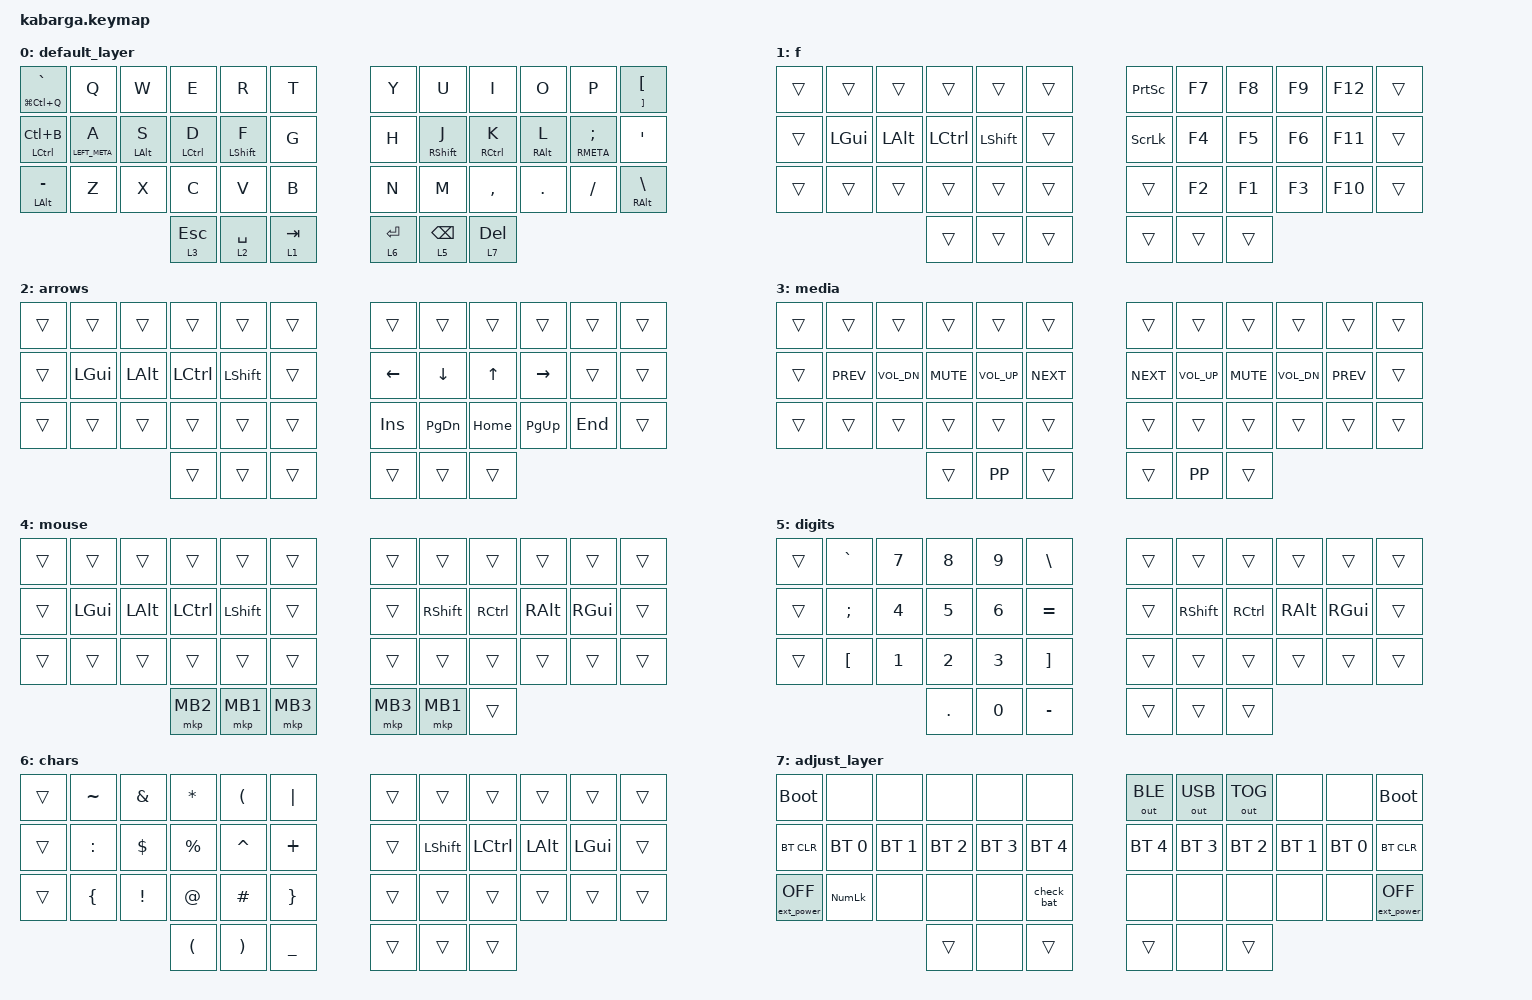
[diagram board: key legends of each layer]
/*
 * Copyright (c) 2020 The ZMK Contributors
 *
 * SPDX-License-Identifier: MIT
 */

#include <behaviors.dtsi>
#include <dt-bindings/zmk/bt.h>
#include <dt-bindings/zmk/ext_power.h>
#include <dt-bindings/zmk/keys.h>
#include <dt-bindings/zmk/mouse.h>
#include <dt-bindings/zmk/outputs.h>

#define DEF 0
#define LWR 1
#define RSE 2
#define ADJ 3

&lt { quick_tap_ms = <220>; };

&mt {
    quick_tap_ms = <200>;
    flavor = "tap-preferred";
    tapping-term-ms = <250>;
};

/ {
    macros {
        numdot: numdot {
            label = "ZM_numdot";
            compatible = "zmk,behavior-macro";
            #binding-cells = <0>;
            wait-ms = <40>;
            tap-ms = <40>;
            bindings =
                <&macro_press>,
                <&kp LALT>,
                <&macro_tap>,
                <&kp KP_N4 &kp KP_N6>,
                <&macro_release>,
                <&kp LALT>;
        };

        grtsgn: grtsgn {
            label = "ZM_grtsgn";
            compatible = "zmk,behavior-macro";
            #binding-cells = <0>;
            wait-ms = <40>;
            tap-ms = <40>;
            bindings =
                <&macro_press>,
                <&kp LALT>,
                <&macro_tap>,
                <&kp KP_N6 &kp KP_N2>,
                <&macro_release>,
                <&kp LALT>;
        };
    };
};

/ {
    keymap {
        compatible = "zmk,keymap";

        default_layer {
            // ------------------------------------------------------------------------------------------------
            //| LGUI/] |  Q  |  W  |  E  |  R  |  T  |   |  Y  |  U   |  I  |  O  |  P  | RGUI/[ | 
            //| CTRL/` |  A  |  S  |  D  |  F  |  G  |   |  H  |  J   |  K  |  L  |  ;  | CTRL/' |
            //| LALT/\ |  Z  |  X  |  C  |  V  |  B  |   |  N  |  M   |  ,  |  .  |  /  | RALT/- |
            //                             | RSE | SPC | LWR |   | LWR | BKSP | RSE |

            bindings = <
&mt LG(LC(Q)) GRAVE  &kp Q            &kp W           &kp E               &kp R         &kp T      &kp Y  &kp U         &kp I                &kp O            &kp P           &mt RIGHT_BRACKET LEFT_BRACKET
&mt LCTRL LC(B)      &mt LEFT_META A  &mt LEFT_ALT S  &mt LEFT_CONTROL D  &mt LSHIFT F  &kp G      &kp H  &mt RSHIFT J  &mt RIGHT_CONTROL K  &mt RIGHT_ALT L  &mt RMETA SEMI  &kp SQT
&mt LALT MINUS       &kp Z            &kp X           &kp C               &kp V         &kp B      &kp N  &kp M         &kp COMMA            &kp DOT          &kp FSLH        &mt RALT BACKSLASH
                                                      &lt 3 ESCAPE        &lt 2 SPACE   &lt 1 TAB         &lt 6 ENTER   &lt 5 BSPC           &lt 7 DEL
            >;
        };

        f {
            bindings = <
&trans  &trans    &trans    &trans     &trans     &trans  &kp PRINTSCREEN  &kp F7  &kp F8  &kp F9  &kp F12  &trans
&trans  &kp LGUI  &kp LALT  &kp LCTRL  &kp LSHFT  &trans  &kp SCROLLLOCK   &kp F4  &kp F5  &kp F6  &kp F11  &trans
&trans  &trans    &trans    &trans     &trans     &trans  &trans           &kp F2  &kp F1  &kp F3  &kp F10  &trans
                            &trans     &trans     &trans                   &trans  &trans  &trans
            >;
        };

        arrows {
            bindings = <
&trans  &trans    &trans    &trans     &trans     &trans  &trans    &trans         &trans        &trans       &trans   &trans
&trans  &kp LGUI  &kp LALT  &kp LCTRL  &kp LSHFT  &trans  &kp LEFT  &kp DOWN       &kp UP_ARROW  &kp RIGHT    &trans   &trans
&trans  &trans    &trans    &trans     &trans     &trans  &kp INS   &kp PAGE_DOWN  &kp HOME      &kp PAGE_UP  &kp END  &trans
                            &trans     &trans     &trans            &trans         &trans        &trans
            >;
        };

        media {
            bindings = <
&trans  &trans      &trans        &trans      &trans           &trans      &trans      &trans           &trans      &trans        &trans      &trans
&trans  &kp K_PREV  &kp C_VOL_DN  &kp K_MUTE  &kp C_VOLUME_UP  &kp K_NEXT  &kp K_NEXT  &kp C_VOLUME_UP  &kp K_MUTE  &kp C_VOL_DN  &kp K_PREV  &trans
&trans  &trans      &trans        &trans      &trans           &trans      &trans      &trans           &trans      &trans        &trans      &trans
                                  &trans      &kp K_PP         &trans                  &trans           &kp K_PP    &trans
            >;
        };

        mouse {
            bindings = <
&trans  &trans    &trans    &trans     &trans     &trans    &trans  &trans     &trans     &trans    &trans    &trans
&trans  &kp LGUI  &kp LALT  &kp LCTRL  &kp LSHFT  &trans    &trans  &kp RSHFT  &kp RCTRL  &kp RALT  &kp RGUI  &trans
&trans  &trans    &trans    &trans     &trans     &trans    &trans  &trans     &trans     &trans    &trans    &trans
                            &mkp MB2   &mkp MB1   &mkp MB3          &mkp MB3   &mkp MB1   &trans
            >;
        };

        digits {
            bindings = <
&trans  &kp GRAVE  &kp N7  &kp N8   &kp N9  &kp BSLH   &trans  &trans     &trans     &trans    &trans    &trans
&trans  &kp SEMI   &kp N4  &kp N5   &kp N6  &kp EQUAL  &trans  &kp RSHFT  &kp RCTRL  &kp RALT  &kp RGUI  &trans
&trans  &kp LBKT   &kp N1  &kp N2   &kp N3  &kp RBKT   &trans  &trans     &trans     &trans    &trans    &trans
                           &kp DOT  &kp N0  &kp MINUS          &trans     &trans     &trans
            >;
        };

        chars {
            bindings = <
&trans  &kp TILDE       &kp AMPERSAND    &kp ASTERISK          &kp LEFT_PARENTHESIS   &kp PIPE         &trans  &trans     &trans     &trans    &trans    &trans
&trans  &kp COLON       &kp DOLLAR       &kp PERCENT           &kp CARET              &kp PLUS         &trans  &kp LSHFT  &kp LCTRL  &kp LALT  &kp LGUI  &trans
&trans  &kp LEFT_BRACE  &kp EXCLAMATION  &kp AT_SIGN           &kp HASH               &kp RIGHT_BRACE  &trans  &trans     &trans     &trans    &trans    &trans
                                         &kp LEFT_PARENTHESIS  &kp RIGHT_PARENTHESIS  &kp UNDER                &trans     &trans     &trans
            >;
        };

        adjust_layer {
            // -----------------------------------------------------------------------------------------
            //| BLDR |     |     |     |     |     |   |     |     |     |     |     | BLDR |
            //| BTCLR| BT0 | BT1 | BT2 | BT3 | BT4 |   | BT4 | BT3 | BT2 | BT1 | BT0 | BTCLR|
            //|pwrOFF|NUMLK|     |     |     |     |   |     |     |     |     |     |      |
            //                   |     |     |     |   |     |     |     |

            bindings = <
&bootloader        &none         &none         &none         &none         &none         &out OUT_BLE  &out OUT_USB  &out OUT_TOG  &none         &none         &bootloader
&bt BT_CLR         &bt BT_SEL 0  &bt BT_SEL 1  &bt BT_SEL 2  &bt BT_SEL 3  &bt BT_SEL 4  &bt BT_SEL 4  &bt BT_SEL 3  &bt BT_SEL 2  &bt BT_SEL 1  &bt BT_SEL 0  &bt BT_CLR
&ext_power EP_OFF  &kp KP_NUM    &none         &none         &none         &check_bat    &none         &none         &none         &none         &none         &ext_power EP_OFF
                                               &trans        &none         &trans                      &trans        &none         &trans
            >;
        };
    };
};
